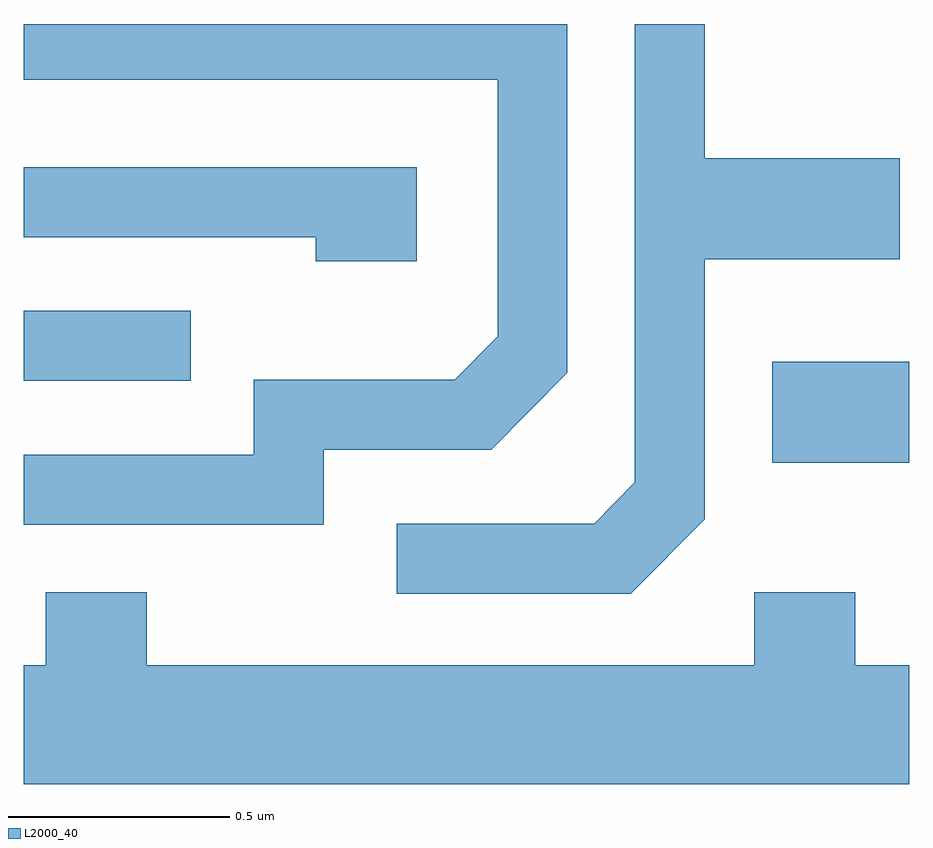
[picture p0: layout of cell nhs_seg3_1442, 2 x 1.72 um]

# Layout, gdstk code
import gdstk
lib = gdstk.Library(unit=1e-6, precision=1e-09)
def R(c, l, rs):  # rectangles x0, y0, x1, y1
    for r in rs: c.add(gdstk.rectangle(r[:2], r[2:], *l))
def P(c, l, *ps):  # polygons
    for p in ps: c.add(gdstk.Polygon(p, *l))
L2000_40 = (2000, 40)

nhs_seg3_1442 = lib.new_cell('nhs_seg3_1442')
R(nhs_seg3_1442, L2000_40, [(197.301,1188.901,197.611,1189.129), (195.611,1189.086,195.988,1189.244)])
P(nhs_seg3_1442, L2000_40, [(196.289,1188.931),(196.667,1188.931),(196.839,1189.104),(196.839,1189.892),(195.611,1189.892),(195.611,1189.766),(196.681,1189.766),(196.681,1189.187),(196.584,1189.089),(196.131,1189.089),(196.131,1188.919),(195.611,1188.919),(195.611,1188.761),(196.289,1188.761)],
  [(197.149,1188.774),(197.149,1189.361),(197.589,1189.361),(197.589,1189.589),(197.149,1189.589),(197.149,1189.892),(196.991,1189.892),(196.991,1188.857),(196.899,1188.764),(196.453,1188.764),(196.453,1188.606),(196.982,1188.606)],
  [(196.499,1189.569),(195.611,1189.569),(195.611,1189.411),(196.271,1189.411),(196.271,1189.356),(196.499,1189.356)],
  [(197.611,1188.444),(197.489,1188.444),(197.489,1188.609),(197.261,1188.609),(197.261,1188.444),(195.889,1188.444),(195.889,1188.609),(195.661,1188.609),(195.661,1188.444),(195.611,1188.444),(195.611,1188.176),(197.611,1188.176)])

lib.write_gds('nhs_seg3_1442.gds')
